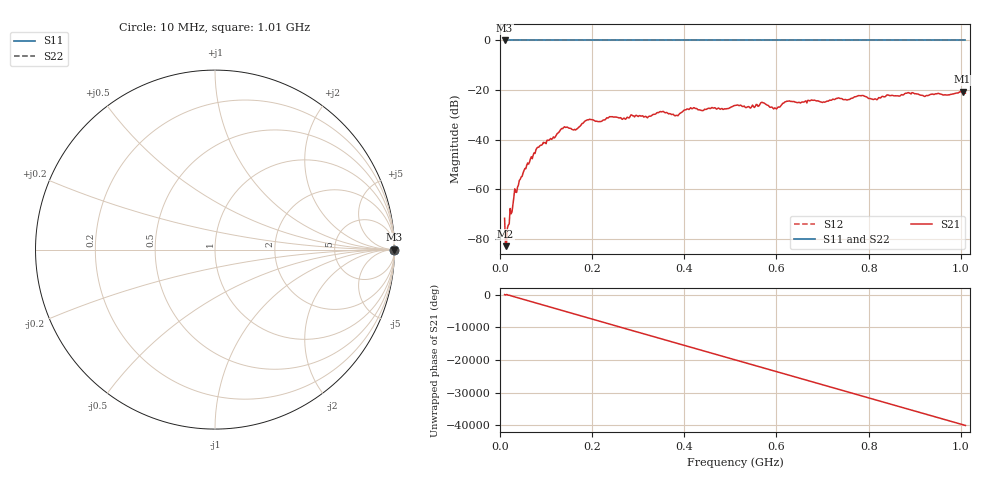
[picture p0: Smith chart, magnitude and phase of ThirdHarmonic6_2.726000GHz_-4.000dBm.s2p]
! 8/17/2025 6:40:26 AM
! C:\ANRITSUVNA\TEMP\TEMP.S2P
! CHANNEL.1
! TR.MEASUREMENT
! RAW.DATA
! RF.CORRECTION.OFF
! AVERAGING.OFF
! IF.BANDWIDTH: 5KHZ
! SWEEPTYPE:  FREQ.SWEEP(Linear)
! Reference Plane Port Info
! PORT:  PORT1  PORT2
! DISTANCE:  0  m  0  m
! TIME:  0  s  0  s
! PHASE.OFFSET:  0  deg.  0  deg.
! LOSS:  0  dB  0  dB
! REF.LOSS:  0  dB  0  dB
! REF.FREQ:  0  Hz  0  Hz
! Power Info
! POWER:  -20  dBm  -20  dBm
! EFF.POWER:  -20  dBm  -20  dBm
! SOURCE.ATTEN:  0  dB  0  dB
! TEST.ATTEN:  0  dB  0  dB
# GHZ S RI R 50.0
! FREQ.GHZ  S11RE  S11IM  S21RE  S21IM  S12RE  S12IM  S22RE  S22IM
!; PortSelection: Port_12
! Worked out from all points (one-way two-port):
!   501 points, 10 MHz to 1.01 GHz, reference 50 ohm
!   highest |S21| = -20.67 dB at 1.004 GHz (marker M1); lowest = -83.1 dB at 12 MHz (marker M2)
!   lowest |S11| = 0.0 dB at 10 MHz (marker M3)
!   |S11| at or under -10 dB: nowhere
!   |S22| runs from 0.0 to 0.0 dB; largest |S21 - S12| = 1.1
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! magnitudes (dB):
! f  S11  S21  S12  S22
! 10 MHz  0.0  -71.8  0.0  0.0
! 12 MHz  0.0  -83.1  0.0  0.0
! 16 MHz  0.0  -75.7  0.0  0.0
! 32 MHz  0.0  -59.9  0.0  0.0
! 42 MHz  0.0  -56.5  0.0  0.0
! 82 MHz  0.0  -43.1  0.0  0.0
! 136 MHz  0.0  -35.6  0.0  0.0
! 162 MHz  0.0  -35.9  0.0  0.0
! 178 MHz  0.0  -33.5  0.0  0.0
! 192 MHz  0.0  -32.0  0.0  0.0
! 322 MHz  0.0  -30.8  0.0  0.0
! 344 MHz  0.0  -29.2  0.0  0.0
! 382 MHz  0.0  -30.3  0.0  0.0
! 418 MHz  0.0  -27.5  0.0  0.0
! 510 MHz  0.0  -26.2  0.0  0.0
! 570 MHz  0.0  -25.1  0.0  0.0
! 598 MHz  0.0  -27.4  0.0  0.0
! 624 MHz  0.0  -24.5  0.0  0.0
! 678 MHz  0.0  -24.1  0.0  0.0
! 844 MHz  0.0  -22.1  0.0  0.0
! 1.004 GHz  0.0  -20.7  0.0  0.0
! 1.01 GHz  0.0  -21.3  0.0  0.0
